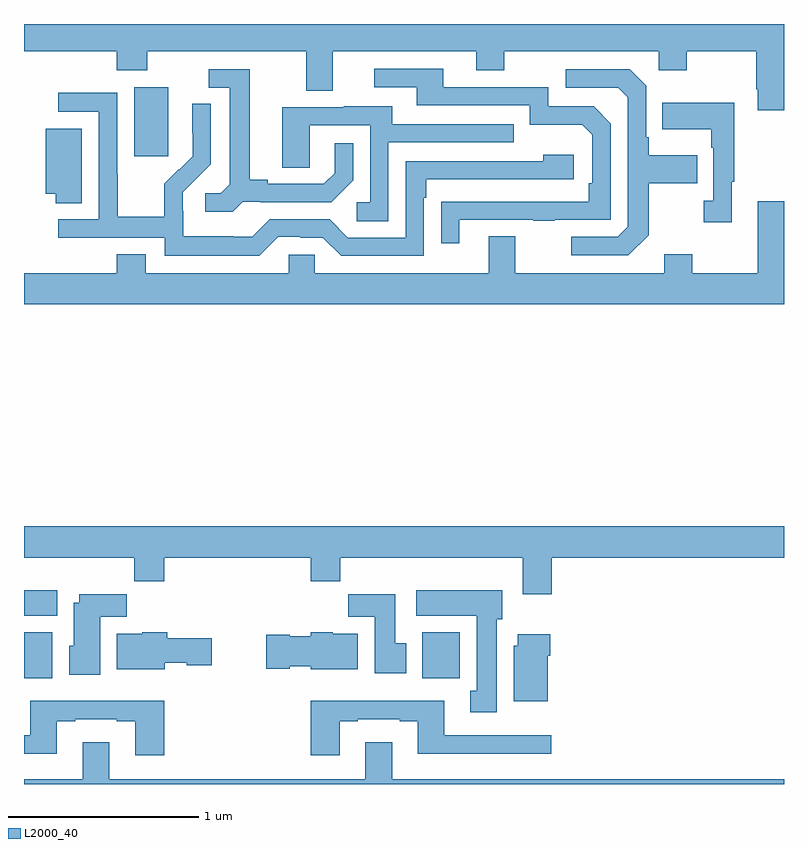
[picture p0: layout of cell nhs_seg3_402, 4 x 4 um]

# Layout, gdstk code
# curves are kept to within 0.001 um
import gdstk
lib = gdstk.Library(unit=1e-6, precision=1e-09)
def R(c, l, rs):  # rectangles x0, y0, x1, y1
    for r in rs: c.add(gdstk.rectangle(r[:2], r[2:], *l))
def P(c, l, *ps):  # polygons
    for p in ps: c.add(gdstk.Polygon(p, *l))
L2000_40 = (2000, 40)

nhs_seg3_402 = lib.new_cell('nhs_seg3_402')
R(nhs_seg3_402, L2000_40, [(131,690.956,131.149,691.198), (133.097,690.956,133.294,691.198), (131,691.286,131.176,691.42), (131.579,693.705,131.758,694.066)])
P(nhs_seg3_402, L2000_40, [(135,694.4),(131,694.4),(131,694.256),(131.489,694.256),(131.489,694.157),(131.649,694.157),(131.649,694.256),(132.485,694.256),(132.485,694.048),(132.625,694.048),(132.625,694.256),(133.379,694.256),(133.379,694.157),(133.527,694.157),(133.527,694.256),(134.34,694.256),(134.34,694.157),(134.487,694.157),(134.487,694.256),(134.854,694.256),(134.854,694.057),(134.861,694.057),(134.861,693.945),(135,693.945)],
  [(133.291,693.369),(133.681,693.369),(133.681,693.364),(133.793,693.364),(133.793,693.369),(134.088,693.369),(134.088,693.876),(133.998,693.966),(133.758,693.966),(133.758,694.068),(133.207,694.068),(133.207,694.164),(132.843,694.164),(132.843,694.068),(133.067,694.068),(133.067,693.972),(133.662,693.972),(133.662,693.869),(133.939,693.869),(133.992,693.816),(133.992,693.562),(133.972,693.562),(133.972,693.465),(133.195,693.464),(133.195,693.246),(133.291,693.246)],
  [(134.287,693.289),(134.287,693.562),(134.543,693.562),(134.543,693.709),(134.287,693.709),(134.287,693.805),(134.274,693.805),(134.274,694.074),(134.187,694.161),(133.851,694.161),(133.851,694.065),(134.127,694.065),(134.178,694.014),(134.178,693.333),(134.124,693.279),(133.881,693.279),(133.881,693.183),(134.181,693.183)],
  [(132.15,693.465),(132.244,693.465),(132.244,693.462),(132.616,693.462),(132.732,693.578),(132.732,693.772),(132.635,693.772),(132.635,693.615),(132.578,693.558),(132.283,693.558),(132.283,693.581),(132.187,693.581),(132.187,694.161),(131.973,694.161),(131.973,694.065),(132.083,694.065),(132.083,693.557),(132.036,693.51),(131.955,693.51),(131.955,693.413),(132.098,693.413)],
  [(132.339,693.279),(132.455,693.279),(132.455,693.276),(132.573,693.276),(132.669,693.18),(133.104,693.18),(133.104,693.485),(133.117,693.485),(133.117,693.582),(133.894,693.582),(133.894,693.712),(133.733,693.712),(133.733,693.678),(133.008,693.678),(133.008,693.276),(132.705,693.276),(132.609,693.372),(132.294,693.372),(132.201,693.279),(132.101,693.279),(132.101,693.283),(131.838,693.283),(131.838,693.417),(131.836,693.417),(131.836,693.514),(131.982,693.662),(131.982,693.98),(131.886,693.98),(131.886,693.826),(131.888,693.826),(131.888,693.704),(131.817,693.633),(131.814,693.636),(131.737,693.559),(131.737,693.385),(131.493,693.385),(131.493,693.608),(131.49,693.608),(131.49,694.038),(131.181,694.038),(131.181,693.939),(131.394,693.939),(131.394,693.372),(131.181,693.372),(131.181,693.276),(131.742,693.276),(131.742,693.179),(132.239,693.179)],
  [(134.725,693.569),(134.737,693.569),(134.737,693.985),(134.359,693.985),(134.359,693.845),(134.616,693.845),(134.616,693.749),(134.628,693.749),(134.628,693.47),(134.577,693.47),(134.577,693.357),(134.725,693.357)],
  [(132.918,693.777),(133.577,693.777),(133.577,693.873),(132.937,693.873),(132.937,693.967),(132.683,693.967),(132.683,693.963),(132.359,693.963),(132.359,693.643),(132.504,693.643),(132.504,693.867),(132.822,693.867),(132.822,693.462),(132.75,693.462),(132.75,693.361),(132.918,693.361)],
  [(131.305,693.85),(131.114,693.85),(131.114,693.506),(131.167,693.506),(131.167,693.457),(131.305,693.457)],
  [(135,693.466),(134.861,693.466),(134.861,693.088),(134.517,693.088),(134.517,693.187),(134.369,693.187),(134.369,693.088),(133.585,693.088),(133.585,693.283),(133.445,693.283),(133.445,693.088),(132.531,693.088),(132.531,693.186),(132.393,693.186),(132.393,693.088),(131.641,693.088),(131.641,693.187),(131.489,693.187),(131.489,693.088),(131,693.088),(131,692.924),(135,692.924)],
  [(133.778,691.592),(135,691.592),(135,691.756),(131,691.756),(131,691.592),(131.581,691.592),(131.581,691.468),(131.738,691.468),(131.738,691.592),(132.509,691.592),(132.509,691.468),(132.665,691.468),(132.665,691.592),(133.625,691.592),(133.625,691.398),(133.778,691.398)],
  [(133.489,691.266),(133.516,691.266),(133.516,691.42),(133.065,691.42),(133.065,691.286),(133.382,691.286),(133.382,690.89),(133.349,690.89),(133.349,690.777),(133.489,690.777)],
  [(131.401,691.28),(131.54,691.28),(131.54,691.399),(131.291,691.399),(131.291,691.354),(131.261,691.354),(131.261,691.128),(131.237,691.128),(131.237,690.974),(131.401,690.974)],
  [(133.012,691.14),(132.955,691.14),(132.955,691.399),(132.706,691.399),(132.706,691.28),(132.845,691.28),(132.845,690.984),(133.012,690.984)],
  [(132.757,691.192),(132.624,691.192),(132.624,691.198),(132.51,691.198),(132.51,691.177),(132.399,691.177),(132.399,691.185),(132.276,691.185),(132.276,691.007),(132.399,691.007),(132.399,691.019),(132.51,691.019),(132.51,691.004),(132.757,691.004)],
  [(131.74,691.037),(131.856,691.037),(131.856,691.025),(131.989,691.025),(131.989,691.167),(131.753,691.167),(131.753,691.198),(131.622,691.198),(131.622,691.192),(131.489,691.192),(131.489,691.004),(131.74,691.004)],
  [(133.756,691.076),(133.769,691.076),(133.769,691.189),(133.598,691.189),(133.598,691.128),(133.577,691.128),(133.577,690.836),(133.756,690.836)],
  [(132.661,690.729),(132.757,690.729),(132.757,690.741),(132.977,690.741),(132.977,690.729),(133.073,690.729),(133.073,690.56),(133.774,690.56),(133.774,690.657),(133.213,690.657),(133.213,690.838),(132.509,690.838),(132.509,690.552),(132.661,690.552)],
  [(131.738,690.838),(131.033,690.838),(131.033,690.657),(131,690.657),(131,690.56),(131.173,690.56),(131.173,690.729),(131.269,690.729),(131.269,690.741),(131.489,690.741),(131.489,690.729),(131.585,690.729),(131.585,690.552),(131.738,690.552)],
  [(135,690.424),(132.937,690.424),(132.937,690.619),(132.797,690.619),(132.797,690.424),(131.449,690.424),(131.449,690.619),(131.309,690.619),(131.309,690.424),(131,690.424),(131,690.4),(135,690.4)])

lib.write_gds('nhs_seg3_402.gds')
